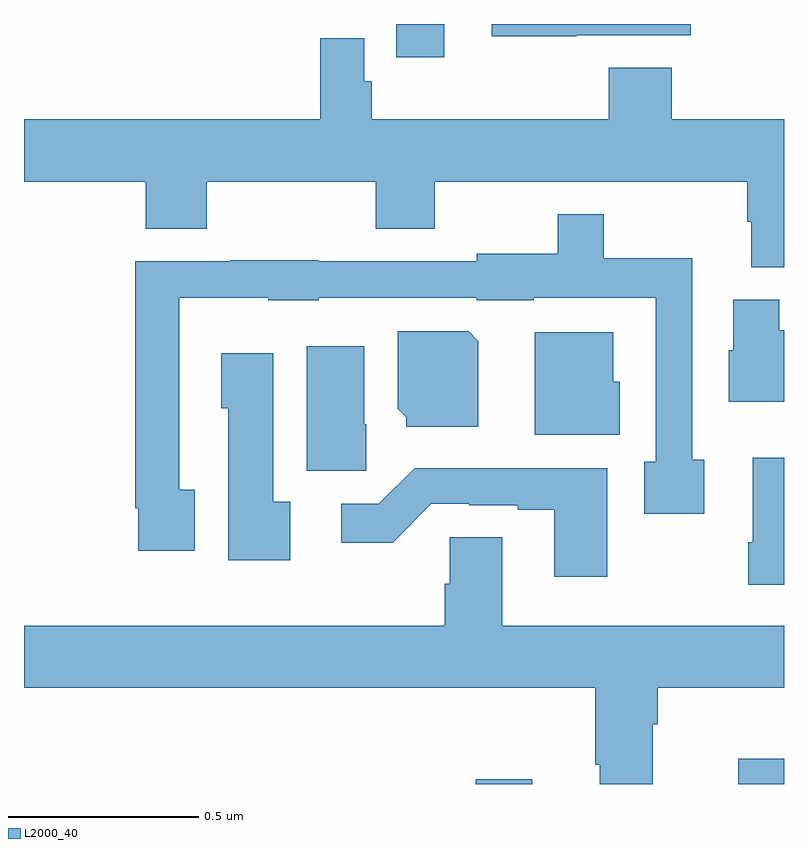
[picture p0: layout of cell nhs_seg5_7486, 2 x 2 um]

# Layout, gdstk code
import gdstk
lib = gdstk.Library(unit=1e-6, precision=1e-09)
def R(c, l, rs):  # rectangles x0, y0, x1, y1
    for r in rs: c.add(gdstk.rectangle(r[:2], r[2:], *l))
def P(c, l, *ps):  # polygons
    for p in ps: c.add(gdstk.Polygon(p, *l))
L2000_40 = (2000, 40)

nhs_seg5_7486 = lib.new_cell('nhs_seg5_7486')
R(nhs_seg5_7486, L2000_40, [(210.189,897.799,210.337,897.811), (210.88,897.799,211,897.866), (209.98,899.712,210.106,899.799)])
P(nhs_seg5_7486, L2000_40, [(210.455,899.769),(210.755,899.769),(210.755,899.799),(210.231,899.799),(210.231,899.767),(210.455,899.767)],
  [(211,899.548),(210.704,899.548),(210.704,899.684),(210.539,899.684),(210.539,899.548),(209.915,899.548),(209.915,899.649),(209.895,899.649),(209.895,899.761),(209.779,899.761),(209.779,899.548),(209,899.548),(209,899.384),(209.321,899.384),(209.321,899.26),(209.481,899.26),(209.481,899.384),(209.926,899.384),(209.926,899.26),(210.081,899.26),(210.081,899.384),(210.903,899.384),(210.903,899.278),(210.914,899.278),(210.914,899.159),(211,899.159)],
  [(209.449,898.574),(209.409,898.574),(209.409,899.078),(209.643,899.078),(209.643,899.072),(209.775,899.072),(209.775,899.079),(210.192,899.079),(210.192,899.072),(210.342,899.072),(210.342,899.078),(210.663,899.078),(210.663,898.647),(210.632,898.647),(210.632,898.51),(210.79,898.51),(210.79,898.652),(210.759,898.652),(210.759,899.183),(210.526,899.183),(210.526,899.299),(210.405,899.299),(210.405,899.194),(210.192,899.194),(210.192,899.175),(209.775,899.175),(209.775,899.177),(209.543,899.177),(209.543,899.175),(209.293,899.175),(209.293,898.525),(209.301,898.525),(209.301,898.413),(209.449,898.413)],
  [(211,898.993),(210.988,898.993),(210.988,899.074),(210.866,899.074),(210.866,898.941),(210.854,898.941),(210.854,898.805),(211,898.805)],
  [(210.196,898.964),(210.17,898.99),(209.984,898.99),(209.984,898.786),(210.006,898.764),(210.006,898.739),(210.196,898.739)],
  [(210.568,898.857),(210.55,898.857),(210.55,898.988),(210.344,898.988),(210.344,898.718),(210.568,898.718)],
  [(209.9,898.746),(209.896,898.746),(209.896,898.951),(209.744,898.951),(209.744,898.623),(209.9,898.623)],
  [(209.701,898.542),(209.656,898.542),(209.656,898.933),(209.519,898.933),(209.519,898.788),(209.537,898.788),(209.537,898.388),(209.701,898.388)],
  [(211,898.657),(210.918,898.657),(210.918,898.435),(210.906,898.435),(210.906,898.323),(211,898.323)],
  [(210.535,898.63),(210.028,898.63),(209.934,898.536),(209.835,898.536),(209.835,898.434),(209.97,898.434),(210.072,898.536),(210.172,898.536),(210.172,898.533),(210.299,898.533),(210.299,898.521),(210.395,898.521),(210.395,898.344),(210.535,898.344)],
  [(210.655,897.956),(210.668,897.956),(210.668,898.052),(211,898.052),(211,898.216),(210.259,898.216),(210.259,898.448),(210.12,898.448),(210.12,898.326),(210.107,898.326),(210.107,898.216),(209,898.216),(209,898.052),(210.503,898.052),(210.503,897.85),(210.515,897.85),(210.515,897.799),(210.655,897.799)])

lib.write_gds('nhs_seg5_7486.gds')
